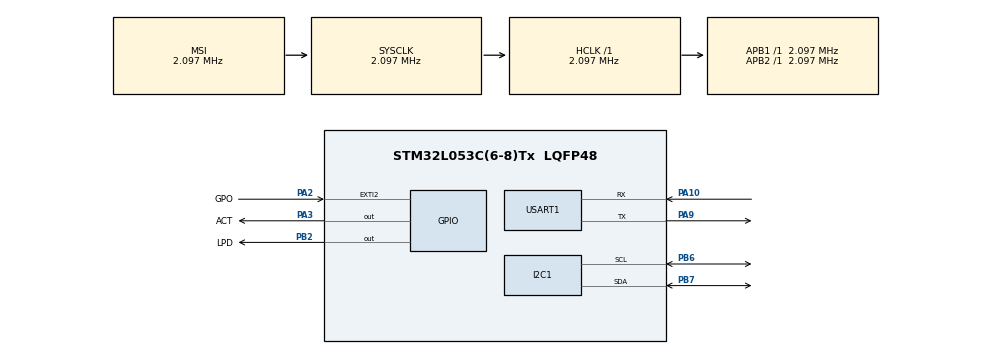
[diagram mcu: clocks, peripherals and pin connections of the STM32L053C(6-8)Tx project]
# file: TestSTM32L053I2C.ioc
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I2C1.Timing=0x00503D58
Mcu.Family=STM32L0
Mcu.Name=STM32L053C(6-8)Tx
Mcu.Package=LQFP48
NVIC.EXTI2_3_IRQn=true\:1\:0\:true\:false\:true\:true\:true\:true
NVIC.RTC_IRQn=true\:0\:0\:false\:false\:true\:true\:true\:true
PA10.Mode=Asynchronous
PA10.Signal=USART1_RX
PA2.GPIO_Label=GPO
PA2.GPIO_ModeDefaultEXTI=GPIO_MODE_IT_FALLING
PA2.Signal=GPXTI2
PA3.GPIO_Label=ACT
PA3.PinState=GPIO_PIN_SET
PA3.Signal=GPIO_Output
PA9.Mode=Asynchronous
PA9.Signal=USART1_TX
PB2.GPIO_Label=LPD
PB2.Signal=GPIO_Output
PB6.Mode=I2C
PB6.Signal=I2C1_SCL
PB7.Mode=I2C
PB7.Signal=I2C1_SDA
PH0-OSC_IN.Mode=HSE-External-Oscillator
PH0-OSC_IN.Signal=RCC_OSC_IN
PH1-OSC_OUT.Mode=HSE-External-Oscillator
PH1-OSC_OUT.Signal=RCC_OSC_OUT
ProjectManager.HeapSize=0x200
ProjectManager.StackSize=0x400
ProjectManager.TargetToolchain=STM32CubeIDE
RCC.AHBFreq_Value=2097000
RCC.APB1Freq_Value=2097000
RCC.APB1TimFreq_Value=2097000
RCC.APB2Freq_Value=2097000
RCC.APB2TimFreq_Value=2097000
RCC.HCLKFreq_Value=2097000
RCC.HSE_VALUE=25000000
RCC.HSI16_VALUE=16000000
RCC.HSI48_VALUE=48000000
RCC.HSI_VALUE=16000000
RCC.I2c1ClockSelection=RCC_I2C1CLKSOURCE_HSI
RCC.LSE_VALUE=32768
RCC.MSI_VALUE=2097000
RCC.PWR_Regulator_Voltage_Scale=PWR_REGULATOR_VOLTAGE_SCALE2
RCC.SYSCLKFreq_VALUE=2097000
RCC.Usart1ClockSelection=RCC_USART1CLKSOURCE_HSI
RCC.VCOOutputFreq_Value=48000000
RTC.AsynchPrediv=124
RTC.SynchPrediv=295
USART1.VirtualMode-Asynchronous=VM_ASYNC
VP_RTC_VS_RTC_Activate.Mode=RTC_Enabled
VP_RTC_VS_RTC_WakeUp_intern.Mode=WakeUp
board=custom

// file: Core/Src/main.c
/* USER CODE BEGIN Header */
/**
 ******************************************************************************
 * @file           : main.c
 * @brief          : Main program body
 ******************************************************************************
 * @attention
 *
 * Copyright (c) 2026 STMicroelectronics.
 * All rights reserved.
 *
 * This software is licensed under terms that can be found in the LICENSE file
 * in the root directory of this software component.
 * If no LICENSE file comes with this software, it is provided AS-IS.
 *
 ******************************************************************************
 */
/* USER CODE END Header */
#include "main.h"

/* USER CODE BEGIN Includes */
#include <stdio.h>
#include <string.h>
#include <stdint.h>
#include <stdbool.h>

#include "st25dv_driver.h"
/* USER CODE END Includes */

/* USER CODE BEGIN PD */
#define LSB_UV 63
// Ajuste este valor na calibração prática com um peso conhecido
#define USTRAIN_PER_BIT_x1000 563

#define ADS1115_ADDR  (0x48 << 1)
#define ADS_REG_CONV  0x00
#define ADS_REG_CONF  0x01

#define RTC_SECONDS(s)           ((uint16_t)((s) - 1U))
#define CHARGING_INTERVAL_TICKS  RTC_SECONDS(1)
#define SENDING_TIMEOUT_WAKEUPS  3U

#define CHARGING_INTERVAL_MS 1000 // 1 segundo

static uint16_t wakeup_cycles = 16; //CHARGING_INTERVAL_MS / (8 * 1000);

#define READING_SAMPLING_INTERVAL_MS 2

#define SAMPLES_FOR_TARING 1
#define SAMPLES_FOR_READING 1

#define PROV_MAGIC  0x5725DA03u
#define PROV_ADDR   DATA_EEPROM_BASE

#define TORQ_DEBUG

uint8_t eh_disabled = 0;

int32_t strain_uE = 0;
int32_t voltage_uV = 0;

uint32_t last_charging_process = 0;

typedef enum {
	CONFIG = 0, CHARGING = 1, TARING = 2, READING = 3, SENDING = 4,
} Process_State;

uint8_t isTared = 0;
uint8_t isConfigured = 0;

volatile Process_State state = CHARGING;
static volatile uint16_t wakeup_counter = 0;
static volatile uint16_t sending_ticks = 0;
static volatile uint8_t gpo_event = 0;

static uint8_t i2c_initialized = 0;

typedef enum {
	MSI_RANGE_131KHZ = RCC_MSIRANGE_2,   // 131 kHz - Ultra low power
	MSI_RANGE_2MHZ = RCC_MSIRANGE_4,     // 2.097 MHz - I2C mode
	MSI_RANGE_4MHZ = RCC_MSIRANGE_5      // 4.194 MHz - Fast I2C mode
} MSI_Range_t;
/* USER CODE END PD */

/* USER CODE BEGIN PM */
#define MEAS_ON()   HAL_GPIO_WritePin(ACT_GPIO_Port, ACT_Pin, GPIO_PIN_RESET)
#define MEAS_OFF()  HAL_GPIO_WritePin(ACT_GPIO_Port, ACT_Pin, GPIO_PIN_SET)

#define LPD_HIGH()   HAL_GPIO_WritePin(LPD_GPIO_Port, LPD_Pin, GPIO_PIN_SET)
#define LPD_LOW()  HAL_GPIO_WritePin(LPD_GPIO_Port, LPD_Pin, GPIO_PIN_RESET)
/* USER CODE END PM */

I2C_HandleTypeDef hi2c1;

RTC_HandleTypeDef hrtc;

UART_HandleTypeDef huart1;

void SystemClock_Config(void);
static void MX_GPIO_Init(void);
static void MX_I2C1_Init(void);
static void MX_USART1_UART_Init(void);
static void MX_RTC_Init(void);
/* USER CODE BEGIN PFP */
#ifdef TORQ_DEBUG
#define DEBUG_PRINT(...) printf(__VA_ARGS__)
#else
  #define DEBUG_PRINT(...) do {} while(0)
#endif
/* USER CODE END PFP */

/* USER CODE BEGIN 0 */

static uint8_t prov_is_done(void) {
	return (*(volatile uint32_t*) PROV_ADDR) == PROV_MAGIC;
}

static void prov_mark_done(void) {
	HAL_FLASHEx_DATAEEPROM_Unlock();
	HAL_FLASHEx_DATAEEPROM_Program(FLASH_TYPEPROGRAMDATA_WORD, PROV_ADDR,
	PROV_MAGIC);
	HAL_FLASHEx_DATAEEPROM_Lock();
}

static void ACT_Init(void) {
	GPIO_InitTypeDef g = { 0 };
	__HAL_RCC_GPIOA_CLK_ENABLE();

	HAL_GPIO_WritePin(ACT_GPIO_Port, ACT_Pin, GPIO_PIN_SET);

	g.Pin = ACT_Pin;
	g.Mode = GPIO_MODE_OUTPUT_PP;
	g.Pull = GPIO_NOPULL;
	g.Speed = GPIO_SPEED_FREQ_LOW;
	HAL_GPIO_Init(ACT_GPIO_Port, &g);
}

static void LPD_Init(void) {
	GPIO_InitTypeDef g = { 0 };
	__HAL_RCC_GPIOA_CLK_ENABLE();

	HAL_GPIO_WritePin(LPD_GPIO_Port, LPD_Pin, GPIO_PIN_SET);

	g.Pin = LPD_Pin;
	g.Mode = GPIO_MODE_OUTPUT_PP;
	g.Pull = GPIO_NOPULL;
	g.Speed = GPIO_SPEED_FREQ_LOW;
	HAL_GPIO_Init(LPD_GPIO_Port, &g);
}

static void GPO_Init(void) {
	GPIO_InitTypeDef g = { 0 };
	__HAL_RCC_GPIOA_CLK_ENABLE();

	g.Pin = GPO_Pin;
	g.Mode = GPIO_MODE_IT_FALLING;
	g.Pull = GPIO_NOPULL;
	g.Speed = GPIO_SPEED_FREQ_LOW;
	HAL_GPIO_Init(GPO_GPIO_Port, &g);

	__HAL_GPIO_EXTI_CLEAR_IT(GPO_Pin);
	HAL_NVIC_ClearPendingIRQ(EXTI2_3_IRQn);
	HAL_NVIC_SetPriority(EXTI2_3_IRQn, 1, 0);
	HAL_NVIC_EnableIRQ(EXTI2_3_IRQn);
}

/* ========================== GPIO em baixo consumo =====================
 * Chame ANTES do ACT_Init: ele poe o PA7 em analogico e o ACT_Init
 * reconfigura em seguida. A ordem importa.
 * =====================================================================*/
void MX_GPIO_LowPower_Init(void) {
	GPIO_InitTypeDef g = { 0 };
	__HAL_RCC_GPIOA_CLK_ENABLE();
	__HAL_RCC_GPIOB_CLK_ENABLE();
	__HAL_RCC_GPIOC_CLK_ENABLE();

	g.Mode = GPIO_MODE_ANALOG;
	g.Pull = GPIO_NOPULL;

	/* PA9/PA10 = I2C1 SCL/SDA — nunca entram aqui.
	 PA13/PA14 = SWD — deixados vivos de propósito. */
	g.Pin = GPIO_PIN_0 | GPIO_PIN_1 | GPIO_PIN_4 | GPIO_PIN_5 | GPIO_PIN_6
			| GPIO_PIN_7;
	HAL_GPIO_Init(GPIOA, &g);

	g.Pin = GPIO_PIN_1 | GPIO_PIN_9;
	HAL_GPIO_Init(GPIOB, &g);

	g.Pin = GPIO_PIN_14 | GPIO_PIN_15;
	HAL_GPIO_Init(GPIOC, &g);
}

void Set_MSI_Range(MSI_Range_t range) {
	RCC_OscInitTypeDef osc = { 0 };
	RCC_ClkInitTypeDef clk = { 0 };

	osc.OscillatorType = RCC_OSCILLATORTYPE_MSI;
	osc.MSIState = RCC_MSI_ON;
	osc.MSICalibrationValue = 0;
	osc.MSIClockRange = range;
	osc.PLL.PLLState = RCC_PLL_NONE;
	if (HAL_RCC_OscConfig(&osc) != HAL_OK) {
		Error_Handler();
	}

	clk.ClockType = RCC_CLOCKTYPE_HCLK | RCC_CLOCKTYPE_SYSCLK
			| RCC_CLOCKTYPE_PCLK1 | RCC_CLOCKTYPE_PCLK2;
	clk.SYSCLKSource = RCC_SYSCLKSOURCE_MSI;
	clk.AHBCLKDivider = RCC_SYSCLK_DIV1;
	clk.APB1CLKDivider = RCC_HCLK_DIV1;
	clk.APB2CLKDivider = RCC_HCLK_DIV1;
	if (HAL_RCC_ClockConfig(&clk, FLASH_LATENCY_0) != HAL_OK) {
		Error_Handler();
	}
}

/* ============================ Sono e acorde =========================== */
void rtc_start_wakeup(uint16_t ticks) {
	HAL_RTCEx_DeactivateWakeUpTimer(&hrtc);
	__HAL_RTC_WAKEUPTIMER_CLEAR_FLAG(&hrtc, RTC_FLAG_WUTF);
	__HAL_PWR_CLEAR_FLAG(PWR_FLAG_WU);
	wakeup_counter = 0; /* <<< */
	HAL_RTCEx_SetWakeUpTimer_IT(&hrtc, ticks, RTC_WAKEUPCLOCK_CK_SPRE_16BITS);
}

static uint8_t periph_ready = 0;

void enter_stop_mode(uint8_t keep_nfc_awake) {
	if (keep_nfc_awake)
		LPD_LOW();
	else
		LPD_HIGH();

	HAL_I2C_DeInit(&hi2c1);

	GPIO_InitTypeDef GPIO_InitStruct = { 0 };
	GPIO_InitStruct.Pin = GPIO_PIN_9 | GPIO_PIN_10;
	GPIO_InitStruct.Mode = GPIO_MODE_ANALOG;
	GPIO_InitStruct.Pull = GPIO_NOPULL;
	HAL_GPIO_Init(GPIOA, &GPIO_InitStruct);

	__HAL_PWR_CLEAR_FLAG(PWR_FLAG_WU);

	HAL_SuspendTick();
	HAL_PWR_EnterSTOPMode(PWR_LOWPOWERREGULATOR_ON, PWR_STOPENTRY_WFI);

	SystemClock_Config();
	HAL_ResumeTick();

	periph_ready = 0;
}

static void peripherals_wake(void) {
	if (periph_ready)
		return;

	__HAL_RCC_I2C1_FORCE_RESET();
	HAL_Delay(1);
	__HAL_RCC_I2C1_RELEASE_RESET();

	MX_I2C1_Init();

#ifdef TORQ_DEBUG
	MX_USART1_UART_Init();
#endif

	periph_ready = 1;
}

void HAL_RTCEx_WakeUpTimerEventCallback(RTC_HandleTypeDef *h) {
	(void) h;

	if (state == SENDING) {
		sending_ticks++; /* so' conta; o main le e decide */
		return;
	}

	if (state != CHARGING)
		return; /* CONFIG, TARING e READING mandam em si mesmos */

	if (++wakeup_counter >= wakeup_cycles) {
		wakeup_counter = 0;
		state = READING;
	}
}

void Uint8ToHexStr(uint8_t num, char *str) {
	const char hexDigits[] = "0123456789ABCDEF";
	str[0] = hexDigits[(num >> 4) & 0x0F]; // Nibble alto
	str[1] = hexDigits[num & 0x0F];        // Nibble baixo
	str[2] = '\0';                         // Terminador nulo
}

/* Função auxiliar para converter Inteiro em String decimal simples */
void IntToDecStr(uint8_t num, char *str) {
	uint8_t i = 0;
	if (num >= 100)
		str[i++] = (num / 100) + '0';
	if (num >= 10)
		str[i++] = ((num / 10) % 10) + '0';
	str[i++] = (num % 10) + '0';
	str[i] = '\0';
}

void I2C_Scanner(I2C_HandleTypeDef *hi2c) {
	// Reduzido de 64 bytes para apenas 4 bytes!
	char smallBuf[4];
	uint8_t devices_found = 0;

	DEBUG_PRINT("--- Scanning I2C bus ---\r\n");

	for (uint8_t addr = 1; addr < 128; addr++) {
		/* O HAL usa o endereço deslocado (shifted) à esquerda */
		if (HAL_I2C_IsDeviceReady(hi2c, (uint16_t) (addr << 1), 2, 10)
				== HAL_OK) {

			// Imprime em partes para não precisar de um buffer gigante
			DEBUG_PRINT("Device found at: 0x");

			// Converte endereço 7-bit
			Uint8ToHexStr(addr, smallBuf);
			DEBUG_PRINT(smallBuf);

			DEBUG_PRINT(" (8-bit: 0x");

			// Converte endereço 8-bit (write address)
			Uint8ToHexStr(addr << 1, smallBuf);
			DEBUG_PRINT(smallBuf);

			DEBUG_PRINT(")\r\n");

			devices_found++;
		}
	}

	if (devices_found == 0) {
		DEBUG_PRINT("No I2C devices found!\r\n");
	} else {
		DEBUG_PRINT("\r\nTotal devices found: ");
		IntToDecStr(devices_found, smallBuf);
		DEBUG_PRINT(smallBuf);
		DEBUG_PRINT("\r\n");
	}

	DEBUG_PRINT("--- Scan Complete ---\r\n");
}

int32_t platform_i2c_write(uint8_t addr, uint16_t reg, uint8_t *data,
		uint16_t len) {
	uint16_t dev_addr = (addr < 0x80) ? (addr << 1) : addr;
	HAL_StatusTypeDef status;
	uint32_t start_tick = HAL_GetTick();

	// Loop de polling recomendado pela AN5624 para aguardar a liberação do RF
	do {
		status = HAL_I2C_Mem_Write(&hi2c1, dev_addr, reg, I2C_MEMADD_SIZE_16BIT,
				data, len, 10);
		if (status == HAL_OK)
			return 0;

		// Se receber um NACK (RF ocupado), aguarda 1ms e tenta de novo
		HAL_Delay(1);
	} while ((HAL_GetTick() - start_tick) < 20); // Timeout máximo de 100ms

	return -1;
}

int32_t platform_i2c_read(uint8_t addr, uint16_t reg, uint8_t *data,
		uint16_t len) {
	uint16_t dev_addr = (addr < 0x80) ? (addr << 1) : addr;
	HAL_StatusTypeDef status;
	uint32_t start_tick = HAL_GetTick();

	do {
		status = HAL_I2C_Mem_Read(&hi2c1, dev_addr, reg, I2C_MEMADD_SIZE_16BIT,
				data, len, 10);
		if (status == HAL_OK)
			return 0;

		HAL_Delay(1);
	} while ((HAL_GetTick() - start_tick) < 20);

	return -1;
}

/* EH_CTRL_Dyn (0x2002), bit0 = EH_EN */
static void EH_Set(uint8_t on) {
	uint8_t v = on ? 0x01 : 0x00;
	platform_i2c_write(0x53, 0x2002, &v, 1);
}

void platform_delay(uint32_t ms) {
	HAL_Delay(ms); // Independente da troca de range do MSI
}

st25dv_io_t st25_driver = { .i2c_write = platform_i2c_write, .i2c_read =
		platform_i2c_read, .delay_ms = platform_delay };

static uint8_t nfc_armed = 0; /* RAM: zera sozinho a cada perda de VCC */

/* Etapa cara — roda uma vez na vida, e só com o armazenamento cheio */
static bool NFC_Provision(void) {
	if (ST25DV_Init(&st25_driver) != 0)
		return false;
	if (ST25DV_I2C_PresentPassword(&st25_driver) != 0)
		return false;
	if (!ST25DV_I2C_IsSessionOpen(&st25_driver))
		return false;

	ST25DV_EH_Enable_Static(&st25_driver); /* EH_MODE = 0: colhe sozinho no campo */

	uint8_t gpo_cfg = 0xA0; /* GPO_EN | RF_GET_MSG_EN */
	platform_i2c_write(0x57, 0x0000, &gpo_cfg, 1);

	ST25DV_MB_Enable_Static(&st25_driver); /* MB_MODE = 1 */
	/* MB_WDG = 0 no registrador de sistema 0x000E: retenção infinita */

	uint8_t gpo_rd = 0;
	platform_i2c_read(0x57, 0x0000, &gpo_rd, 1);
	DEBUG_PRINT("GPO estatico=0x%02X (esperado 0xA0)\r\n", gpo_rd);

	uint8_t gpo_dyn_rd = 0;
	platform_i2c_read(0x53, 0x2000, &gpo_dyn_rd, 1);
	DEBUG_PRINT("GPO_Dyn=0x%02X (esperado 0xA0)\r\n", gpo_dyn_rd);

	uint8_t mb_wdg = 0x00; /* retencao infinita */
	platform_i2c_write(0x57, 0x000E, &mb_wdg, 1);

	prov_mark_done();
	return true;
}

/* Etapa barata — uma escrita, sem senha, sem sessão */
static bool NFC_Arm(void) {
	return (ST25DV_MB_Enable_Dyn(&st25_driver) == 0);
}

/* Converte int32_t para string (ASCII) de forma leve */
void LongToStr(int32_t num, char *str) {
	int i = 0;
	uint8_t isNegative = 0;

	// Caso especial para 0
	if (num == 0) {
		str[0] = '0';
		str[1] = '\0';
		return;
	}

	// Lida com números negativos
	if (num < 0) {
		isNegative = 1;
		num = -num; // Torna positivo para processamento
	}

	// Extrai dígitos (gera a string invertida)
	while (num != 0) {
		str[i++] = (num % 10) + '0';
		num /= 10;
	}

	// Adiciona o sinal se necessário
	if (isNegative) {
		str[i++] = '-';
	}

	str[i] = '\0'; // Finaliza string

	// Inverte a string para a ordem correta
	for (int j = 0; j < i / 2; j++) {
		char temp = str[j];
		str[j] = str[i - 1 - j];
		str[i - 1 - j] = temp;
	}
}

int16_t ADS1115_Read(void) {
	uint8_t config[3];
	uint8_t data[2];
	int16_t raw_val;

	config[0] = ADS_REG_CONF;
	// --- CONFIGURAÇÃO DO MSB (Byte mais significativo) ---
	// Bit 15 (OS): 1 (Start Single Conversion)
	// Bits 14-12 (MUX): 100 -> AIN0 vs GND (Single-Ended) <--- CORRETO PARA SEU CIRCUITO
	// Bits 11-9 (PGA): 010 -> +/- 2.048V (Cobre seu range de 0 a 2V)
	// Bit 8 (MODE): 1 (Single-Shot)
	// Binário: 1100 0101 = 0xC5
	config[1] = 0xC5;

	// --- CONFIGURAÇÃO DO LSB (Byte menos significativo) ---
	// Bits 7-5 (DR): 100 -> 128 SPS (Padrão)
	// Bits 4-0 (COMP): Padrão (Disable comparator)
	// Binário: 1000 0011 = 0x83
	config[2] = 0x83;

	if (HAL_I2C_Master_Transmit(&hi2c1, ADS1115_ADDR, config, 3, 100) != HAL_OK)
		return -1;

	HAL_Delay(10);

	uint8_t reg_ptr = ADS_REG_CONV;
	HAL_I2C_Master_Transmit(&hi2c1, ADS1115_ADDR, &reg_ptr, 1, 100);

	if (HAL_I2C_Master_Receive(&hi2c1, ADS1115_ADDR, data, 2, 100) == HAL_OK) {
		raw_val = (int16_t) ((data[0] << 8) | data[1]);
		return raw_val;
	}
	return -1;
}

int32_t offset = 0;
int32_t sum = 0;
int16_t count = 0;

void TORQUIMETER_Taring() {
	HAL_Delay(15);

	sum = 0;
	count = 0;

	int16_t raw_adc = ADS1115_Read();

	sum += raw_adc;
	count++;

	if (count >= SAMPLES_FOR_TARING) {
		int32_t average = sum / count;
		int32_t delta_bits = average - offset;

		voltage_uV = delta_bits * LSB_UV;
		strain_uE = (delta_bits * USTRAIN_PER_BIT_x1000) / 1000;

		sum = 0;
		count = 0;

		offset = average;
		DEBUG_PRINT("TARING offset=%ld contagens\r\n", offset);

		state = CHARGING;
	} else
		HAL_Delay(READING_SAMPLING_INTERVAL_MS);
}

void TORQUIMETER_Measure() {
	HAL_Delay(15);

	sum = 0;
	count = 0;

	HAL_Delay(15);

	ST25DV_MB_Enable_Dyn(&st25_driver);

	uint8_t gpo_dyn = 0xA0;
	platform_i2c_write(0x53, 0x2000, &gpo_dyn, 1); /* GPO_Dyn */

	int16_t raw_adc = ADS1115_Read();

	sum += raw_adc;
	count++;

	if (count >= SAMPLES_FOR_READING) {
		int32_t average = sum / count;

		int32_t delta_bits = average - offset;

		// if (abs(delta_bits) > 0) { // Removido para atualizar mesmo se for 0
		voltage_uV = delta_bits * LSB_UV;
		strain_uE = (delta_bits * USTRAIN_PER_BIT_x1000) / 1000;

		sum = 0;
		count = 0;

		char nfc_buffer[12];
		memset(nfc_buffer, 0, sizeof(nfc_buffer)); // Preenche o buffer com terminadores nulos

		LongToStr(strain_uE, nfc_buffer);

		uint8_t eh_ctrl = 0;
		platform_i2c_read(0x53, 0x2002, &eh_ctrl, 1);
		DEBUG_PRINT("[%lu ms] EH_CTRL_Dyn: 0x%02X (VCC_ON = %d)\r\n",
				HAL_GetTick(), eh_ctrl, (eh_ctrl & 0x08) ? 1 : 0);

		int32_t mb_err = ST25DV_MB_WriteMessage(&st25_driver,
				(uint8_t*) nfc_buffer, 12);

		if (mb_err == 0) {
			uint8_t dbg_mb_ctrl = 0, dbg_rf_mngt = 0, dbg_i2c_sso = 0,
					dbg_it_sts = 0;

			// Lendo os registradores dinâmicos chave (Endereço E2=0 -> 0x53)
			platform_i2c_read(0x53, 0x2006, &dbg_mb_ctrl, 1); // MB_CTRL_Dyn
			platform_i2c_read(0x53, 0x2003, &dbg_rf_mngt, 1); // RF_MNGT_Dyn
			platform_i2c_read(0x53, 0x2004, &dbg_i2c_sso, 1); // I2C_SSO_Dyn
			platform_i2c_read(0x53, 0x2005, &dbg_it_sts, 1);  // IT_STS_Dyn

			DEBUG_PRINT(
					"[%lu ms] DEBUG DYN -> MB_CTRL: 0x%02X | RF_MNGT: 0x%02X | I2C_SSO: 0x%02X | IT_STS: 0x%02X\r\n",
					HAL_GetTick(), dbg_mb_ctrl, dbg_rf_mngt, dbg_i2c_sso,
					dbg_it_sts);

			uint8_t mb = 0, len = 0, eh = 0;
			platform_i2c_read(0x53, 0x2002, &eh, 1); /* EH_CTRL_Dyn: bit3 = VCC_ON */
			platform_i2c_read(0x53, 0x2006, &mb, 1); /* MB_CTRL_Dyn */
			platform_i2c_read(0x53, 0x2007, &len, 1); /* MB_LEN_Dyn  */
			DEBUG_PRINT("MB w=%ld CTRL=0x%02X LEN=%u VCC_ON=%d\r\n", mb_err, mb,
					len, (eh & 0x08) ? 1 : 0);

			sending_ticks = 0;
			state = SENDING;
		} else {
			DEBUG_PRINT("[%lu ms]  MB write FAIL (Err: %d)\r\n", HAL_GetTick(),
					(int ) mb_err);
			EH_Set(1); /* <<< ADICIONAR: devolve a colheita */
			state = CHARGING;
		}
	} else
		HAL_Delay(READING_SAMPLING_INTERVAL_MS);
}

static bool mb_was_collected(void) {
	uint8_t mb = 0;

	// Voltando para o endereço correto (0x53) do barramento E2=0
	if (platform_i2c_read(0x53, 0x2006, &mb, 1) != 0) {
		return false;
	}

	// Retorna true se MB_EN=1 e HOST_PUT_MSG=0 (msg consumida)
	return ((mb & 0x01) != 0) && ((mb & 0x02) == 0);
}

/* USER CODE END 0 */

int main(void) {

	/* MCU Configuration--------------------------------------------------------*/

	/* Reset of all peripherals, Initializes the Flash interface and the Systick. */
	HAL_Init();

	/* USER CODE BEGIN Init */
	setvbuf(stdout, NULL, _IONBF, 0);
	/* USER CODE END Init */

	/* Configure the system clock */
	SystemClock_Config();

	/* Initialize all configured peripherals */
	MX_GPIO_Init();
	MX_I2C1_Init();
	MX_USART1_UART_Init();
	MX_RTC_Init();
	/* USER CODE BEGIN 2 */
	HAL_Delay(20);

	//Set_MSI_Range(MSI_RANGE_2MHZ);

	MX_GPIO_LowPower_Init();
	ACT_Init();
	LPD_Init();
	GPO_Init();

#ifdef TORQ_DEBUG
	MEAS_ON();
	LPD_LOW();
	HAL_Delay(15);
	I2C_Scanner(&hi2c1);
	MEAS_OFF();
	LPD_HIGH();
#endif

	MEAS_ON();
	LPD_LOW();

	HAL_Delay(15);
	EH_Set(1);

	MEAS_OFF();
	LPD_HIGH();

	isConfigured = prov_is_done();

	HAL_InitTick(TICK_INT_PRIORITY);
	__enable_irq();

	rtc_start_wakeup(CHARGING_INTERVAL_TICKS);
	state = CHARGING;
	/* USER CODE END 2 */

	/* Infinite loop */
	/* USER CODE BEGIN WHILE */
	while (1) {
		switch (state) {
		case CONFIG:
			Set_MSI_Range(MSI_RANGE_2MHZ);
			MEAS_ON();
			LPD_LOW();
			HAL_Delay(15);
			peripherals_wake();

			DEBUG_PRINT("[%lu ms] -> Configurando ST25DV...\r\n",
					HAL_GetTick());

			if (NFC_Provision()) {
				isConfigured = 1;
				DEBUG_PRINT("CONFIG: OK\r\n");
			} else {
				DEBUG_PRINT("CONFIG: FALHA — tenta no proximo ciclo\r\n");
			}

			state = CHARGING;
			break;
		case CHARGING:
			if (eh_disabled) {
				MEAS_ON();
				peripherals_wake();
				HAL_Delay(5);
				EH_Set(1);
				eh_disabled = 0;
			}

			MEAS_OFF();
			LPD_HIGH();

			if (state == CHARGING)
				enter_stop_mode(0);
			break;

		case TARING:
			Set_MSI_Range(MSI_RANGE_2MHZ);
			MEAS_ON();
			LPD_LOW();
			peripherals_wake();

			DEBUG_PRINT("[%lu ms] -> Executando tara...\r\n", HAL_GetTick());
			TORQUIMETER_Taring();
			DEBUG_PRINT("\r\n");
			isTared = 1;
			break;

		case READING: {
			if (!isConfigured) {
				state = CONFIG;
				break;
			}
			if (!isTared) {
				state = TARING;
				break;
			}

			Set_MSI_Range(MSI_RANGE_2MHZ);
			MEAS_ON();
			LPD_LOW();
			peripherals_wake();

			uint8_t eh0 = 0;
			platform_i2c_read(0x53, 0x2002, &eh0, 1);
			DEBUG_PRINT("EH antes do Set(0): 0x%02X\r\n", eh0);

			EH_Set(0);
			eh_disabled = 1;

			TORQUIMETER_Measure();
			break;
		}

		case SENDING: {
			uint8_t done = 0;

			if (gpo_event) {
				gpo_event = 0;
				done = 1;
			}

			if (done || sending_ticks >= SENDING_TIMEOUT_WAKEUPS) {
				MEAS_ON();
				peripherals_wake(); // O reset forçado limpa o barramento e reconfigura o I2C
				HAL_Delay(5);

				if (!done)
					DEBUG_PRINT("[%lu ms] SENDING timeout\r\n", HAL_GetTick());

				EH_Set(1);
				eh_disabled = 0;

				MEAS_OFF();
				sending_ticks = 0;
				gpo_event = 0;
				state = CHARGING;
				break;
			}

			// Desliga o dreno de 3mA da ponte analógica!
			MEAS_OFF();

			// Entra em Stop Mode cortando as fugas I2C, mas mantendo o NFC acordado.
			enter_stop_mode(1);
			break;
		}
		default:
			state = CHARGING;
			break;
		}
		/* USER CODE END WHILE */

	}
}

void SystemClock_Config(void) {
	RCC_OscInitTypeDef RCC_OscInitStruct = { 0 };
	RCC_ClkInitTypeDef RCC_ClkInitStruct = { 0 };
	RCC_PeriphCLKInitTypeDef PeriphClkInit = { 0 };

	/** Configure the main internal regulator output voltage
	 */
	__HAL_PWR_VOLTAGESCALING_CONFIG(PWR_REGULATOR_VOLTAGE_SCALE2);

	/** Initializes the RCC Oscillators according to the specified parameters
	 * in the RCC_OscInitTypeDef structure.
	 */
	RCC_OscInitStruct.OscillatorType = RCC_OSCILLATORTYPE_HSI
			| RCC_OSCILLATORTYPE_LSI | RCC_OSCILLATORTYPE_MSI;
	RCC_OscInitStruct.HSIState = RCC_HSI_ON;
	RCC_OscInitStruct.HSICalibrationValue = RCC_HSICALIBRATION_DEFAULT;
	RCC_OscInitStruct.LSIState = RCC_LSI_ON;
	RCC_OscInitStruct.MSIState = RCC_MSI_ON;
	RCC_OscInitStruct.MSICalibrationValue = 0;
	RCC_OscInitStruct.MSIClockRange = RCC_MSIRANGE_5;
	RCC_OscInitStruct.PLL.PLLState = RCC_PLL_NONE;
	if (HAL_RCC_OscConfig(&RCC_OscInitStruct) != HAL_OK) {
		Error_Handler();
	}

	/** Initializes the CPU, AHB and APB buses clocks
	 */
	RCC_ClkInitStruct.ClockType = RCC_CLOCKTYPE_HCLK | RCC_CLOCKTYPE_SYSCLK
			| RCC_CLOCKTYPE_PCLK1 | RCC_CLOCKTYPE_PCLK2;
	RCC_ClkInitStruct.SYSCLKSource = RCC_SYSCLKSOURCE_MSI;
	RCC_ClkInitStruct.AHBCLKDivider = RCC_SYSCLK_DIV1;
	RCC_ClkInitStruct.APB1CLKDivider = RCC_HCLK_DIV1;
	RCC_ClkInitStruct.APB2CLKDivider = RCC_HCLK_DIV1;

	if (HAL_RCC_ClockConfig(&RCC_ClkInitStruct, FLASH_LATENCY_0) != HAL_OK) {
		Error_Handler();
	}
	PeriphClkInit.PeriphClockSelection = RCC_PERIPHCLK_USART1
			| RCC_PERIPHCLK_I2C1 | RCC_PERIPHCLK_RTC;
	PeriphClkInit.Usart1ClockSelection = RCC_USART1CLKSOURCE_HSI;
	PeriphClkInit.I2c1ClockSelection = RCC_I2C1CLKSOURCE_HSI;
	PeriphClkInit.RTCClockSelection = RCC_RTCCLKSOURCE_LSI;
	if (HAL_RCCEx_PeriphCLKConfig(&PeriphClkInit) != HAL_OK) {
		Error_Handler();
	}
}

static void MX_I2C1_Init(void) {

	hi2c1.Instance = I2C1;
	hi2c1.Init.Timing = 0x00503D58;
	hi2c1.Init.OwnAddress1 = 0;
	hi2c1.Init.AddressingMode = I2C_ADDRESSINGMODE_7BIT;
	hi2c1.Init.DualAddressMode = I2C_DUALADDRESS_DISABLE;
	hi2c1.Init.OwnAddress2 = 0;
	hi2c1.Init.OwnAddress2Masks = I2C_OA2_NOMASK;
	hi2c1.Init.GeneralCallMode = I2C_GENERALCALL_DISABLE;
	hi2c1.Init.NoStretchMode = I2C_NOSTRETCH_DISABLE;
	if (HAL_I2C_Init(&hi2c1) != HAL_OK) {
		Error_Handler();
	}

	/** Configure Analogue filter
	 */
	if (HAL_I2CEx_ConfigAnalogFilter(&hi2c1, I2C_ANALOGFILTER_ENABLE)
			!= HAL_OK) {
		Error_Handler();
	}

	/** Configure Digital filter
	 */
	if (HAL_I2CEx_ConfigDigitalFilter(&hi2c1, 0) != HAL_OK) {
		Error_Handler();
	}

}

static void MX_RTC_Init(void) {

	/** Initialize RTC Only
	 */
	hrtc.Instance = RTC;
	hrtc.Init.HourFormat = RTC_HOURFORMAT_24;
	hrtc.Init.AsynchPrediv = 124;
	hrtc.Init.SynchPrediv = 295;
	hrtc.Init.OutPut = RTC_OUTPUT_DISABLE;
	hrtc.Init.OutPutRemap = RTC_OUTPUT_REMAP_NONE;
	hrtc.Init.OutPutPolarity = RTC_OUTPUT_POLARITY_HIGH;
	hrtc.Init.OutPutType = RTC_OUTPUT_TYPE_OPENDRAIN;
	if (HAL_RTC_Init(&hrtc) != HAL_OK) {
		Error_Handler();
	}

	/** Enable the WakeUp
	 */
	if (HAL_RTCEx_SetWakeUpTimer_IT(&hrtc, 0, RTC_WAKEUPCLOCK_RTCCLK_DIV16)
			!= HAL_OK) {
		Error_Handler();
	}

}

static void MX_USART1_UART_Init(void) {

	huart1.Instance = USART1;
	huart1.Init.BaudRate = 115200;
	huart1.Init.WordLength = UART_WORDLENGTH_8B;
	huart1.Init.StopBits = UART_STOPBITS_1;
	huart1.Init.Parity = UART_PARITY_NONE;
	huart1.Init.Mode = UART_MODE_TX_RX;
	huart1.Init.HwFlowCtl = UART_HWCONTROL_NONE;
	huart1.Init.OverSampling = UART_OVERSAMPLING_16;
	huart1.Init.OneBitSampling = UART_ONE_BIT_SAMPLE_DISABLE;
	huart1.AdvancedInit.AdvFeatureInit = UART_ADVFEATURE_NO_INIT;
	if (HAL_UART_Init(&huart1) != HAL_OK) {
		Error_Handler();
	}

}

static void MX_GPIO_Init(void) {
	GPIO_InitTypeDef GPIO_InitStruct = { 0 };

	/* GPIO Ports Clock Enable */
	__HAL_RCC_GPIOH_CLK_ENABLE();
	__HAL_RCC_GPIOA_CLK_ENABLE();
	__HAL_RCC_GPIOB_CLK_ENABLE();

	/*Configure GPIO pin Output Level */
	HAL_GPIO_WritePin(ACT_GPIO_Port, ACT_Pin, GPIO_PIN_SET);

	/*Configure GPIO pin Output Level */
	HAL_GPIO_WritePin(LPD_GPIO_Port, LPD_Pin, GPIO_PIN_RESET);

	/*Configure GPIO pin : GPO_Pin */
	GPIO_InitStruct.Pin = GPO_Pin;
	GPIO_InitStruct.Mode = GPIO_MODE_IT_FALLING;
	GPIO_InitStruct.Pull = GPIO_NOPULL;
	HAL_GPIO_Init(GPO_GPIO_Port, &GPIO_InitStruct);

	/*Configure GPIO pin : ACT_Pin */
	GPIO_InitStruct.Pin = ACT_Pin;
	GPIO_InitStruct.Mode = GPIO_MODE_OUTPUT_PP;
	GPIO_InitStruct.Pull = GPIO_NOPULL;
	GPIO_InitStruct.Speed = GPIO_SPEED_FREQ_LOW;
	HAL_GPIO_Init(ACT_GPIO_Port, &GPIO_InitStruct);

	/*Configure GPIO pin : LPD_Pin */
	GPIO_InitStruct.Pin = LPD_Pin;
	GPIO_InitStruct.Mode = GPIO_MODE_OUTPUT_PP;
	GPIO_InitStruct.Pull = GPIO_NOPULL;
	GPIO_InitStruct.Speed = GPIO_SPEED_FREQ_LOW;
	HAL_GPIO_Init(LPD_GPIO_Port, &GPIO_InitStruct);

	/* EXTI interrupt init*/
	HAL_NVIC_SetPriority(EXTI2_3_IRQn, 1, 0);
	HAL_NVIC_EnableIRQ(EXTI2_3_IRQn);

}

/* USER CODE BEGIN 4 */
void HAL_GPIO_EXTI_Callback(uint16_t GPIO_Pin) {
	if (GPIO_Pin == GPO_Pin) {
		gpo_event = 1;
	}
}

int _write(int file, char *ptr, int len) {
	HAL_UART_Transmit(&huart1, (uint8_t*) ptr, len, 1000);
	return len;
}

/* USER CODE END 4 */

void Error_Handler(void) {
	/* USER CODE BEGIN Error_Handler_Debug */
#ifdef TORQ_DEBUG
	printf("\r\n*** ERROR_HANDLER — estado=%d ***\r\n", (int) state);
	HAL_Delay(50);
#endif
	NVIC_SystemReset();
	/* USER CODE END Error_Handler_Debug */
}
#ifdef USE_FULL_ASSERT
/**
  * @brief  Reports the name of the source file and the source line number
  *         where the assert_param error has occurred.
  * @param  file: pointer to the source file name
  * @param  line: assert_param error line source number
  * @retval None
  */
void assert_failed(uint8_t *file, uint32_t line)
{
  /* USER CODE BEGIN 6 */
  /* User can add his own implementation to report the file name and line number,
     ex: DEBUG_PRINT("Wrong parameters value: file %s on line %d\r\n", file, line) */
  /* USER CODE END 6 */
}
#endif /* USE_FULL_ASSERT */
